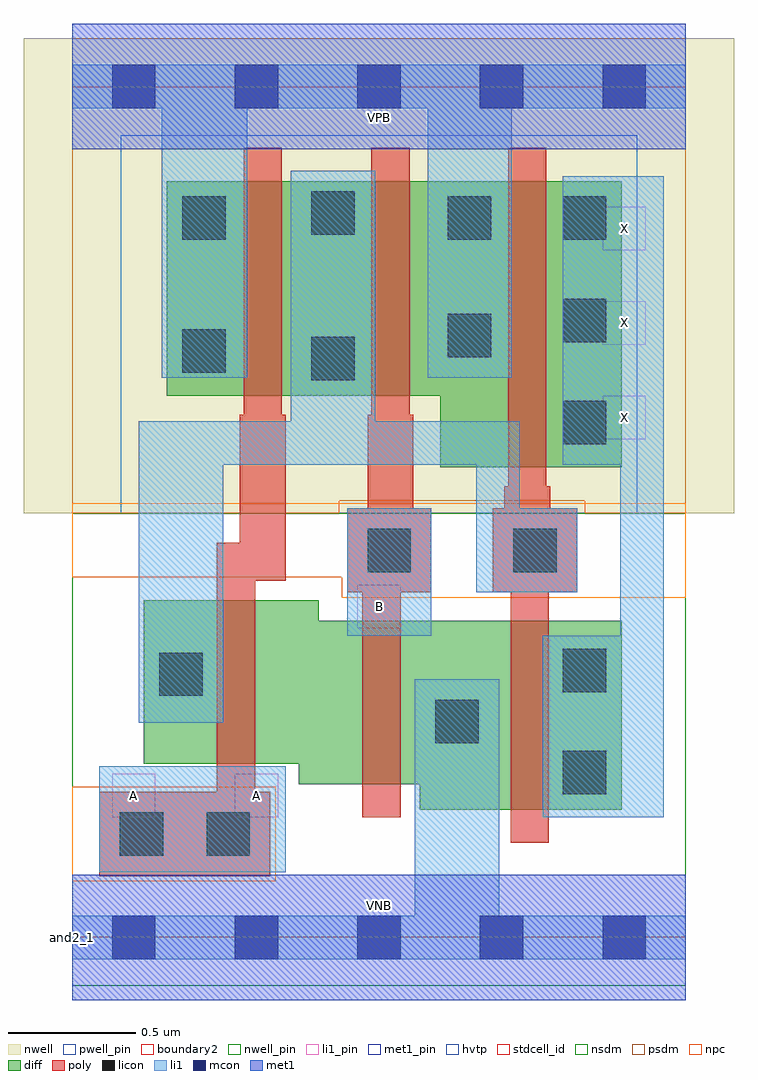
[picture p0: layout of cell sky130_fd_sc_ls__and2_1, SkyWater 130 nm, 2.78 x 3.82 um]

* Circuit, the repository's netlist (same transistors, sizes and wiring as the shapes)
* Copyright 2020 The SkyWater PDK Authors
*
* Licensed under the Apache License, Version 2.0 (the "License");
* you may not use this file except in compliance with the License.
* You may obtain a copy of the License at
*
*     https://www.apache.org/licenses/LICENSE-2.0
*
* Unless required by applicable law or agreed to in writing, software
* distributed under the License is distributed on an "AS IS" BASIS,
* WITHOUT WARRANTIES OR CONDITIONS OF ANY KIND, either express or implied.
* See the License for the specific language governing permissions and
* limitations under the License.
*
* SPDX-License-Identifier: Apache-2.0

.SUBCKT sky130_fd_sc_ls__and2_1 A B VGND VNB VPB VPWR X
*.PININFO A:I B:I VGND:I VNB:I VPB:I VPWR:I X:O
MMP0 y A VPWR VPB sky130_fd_pr__pfet_01v8_hvt m=1 w=0.84U l=0.15U mult=1 sa=0.265
+ sb=0.265 sd=0.28 area=0.063 perim=1.14
MMP1 y B VPWR VPB sky130_fd_pr__pfet_01v8_hvt m=1 w=0.84U l=0.15U mult=1 sa=0.265
+ sb=0.265 sd=0.28 area=0.063 perim=1.14
MMIP0 X y VPWR VPB sky130_fd_pr__pfet_01v8_hvt m=1 w=1.12U l=0.15U mult=1 sa=0.265
+ sb=0.265 sd=0.28 area=0.063 perim=1.14
MMN0 y A sndA VNB sky130_fd_pr__nfet_01v8 m=1 w=0.64U l=0.15U mult=1 sa=0.265 sb=0.265
+ sd=0.28 area=0.063 perim=1.14
MMN1 sndA B VGND VNB sky130_fd_pr__nfet_01v8 m=1 w=0.64U l=0.15U mult=1 sa=0.265
+ sb=0.265 sd=0.28 area=0.063 perim=1.14
MMIN0 X y VGND VNB sky130_fd_pr__nfet_01v8 m=1 w=0.74U l=0.15U mult=1 sa=0.265
+ sb=0.265 sd=0.28 area=0.063 perim=1.14
.ENDS sky130_fd_sc_ls__and2_1

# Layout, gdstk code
import gdstk
lib = gdstk.Library(unit=1e-6, precision=1e-09)
def R(c, l, rs):  # rectangles x0, y0, x1, y1
    for r in rs: c.add(gdstk.rectangle(r[:2], r[2:], *l))
def A(c, l, x, y, w, h, nx, ny, dx, dy):  # array of equal rectangles
    R(c, l, [(x+i*dx, y+j*dy, x+i*dx+w, y+j*dy+h) for i in range(nx) for j in range(ny)])
def P(c, l, *ps):  # polygons
    for p in ps: c.add(gdstk.Polygon(p, *l))
nwell_pin = (64, 16)
nwell = (64, 20)
diff = (65, 20)
poly = (66, 20)
licon = (66, 44)
li1_pin = (67, 16)
li1 = (67, 20)
mcon = (67, 44)
met1_pin = (68, 16)
met1 = (68, 20)
hvtp = (78, 44)
stdcell_id = (81, 4)
nsdm = (93, 44)
psdm = (94, 20)
npc = (95, 20)
pwell_pin = (122, 16)
boundary2 = (236, 0)

sky130_fd_sc_ls__and2_1 = lib.new_cell('sky130_fd_sc_ls__and2_1')
R(sky130_fd_sc_ls__and2_1, nwell_pin, [(0,3.085,2.4,3.33)])
R(sky130_fd_sc_ls__and2_1, nwell, [(-0.19,1.66,2.59,3.52)])
P(sky130_fd_sc_ls__and2_1, diff, [(2.15,2.96),(0.37,2.96),(0.37,2.12),(1.44,2.12),(1.44,1.84),(2.15,1.84)],
  [(2.15,1.24),(0.965,1.24),(0.965,1.32),(0.28,1.32),(0.28,0.68),(0.885,0.68),(0.885,0.6),(1.36,0.6),(1.36,0.5),(2.15,0.5)])
P(sky130_fd_sc_ls__and2_1, poly, [(1.975,1.68),(1.87,1.68),(1.87,1.765),(1.855,1.765),(1.855,3.09),(1.705,3.09),(1.705,1.765),(1.69,1.765),(1.69,1.68),(1.645,1.68),(1.645,1.35),(1.715,1.35),(1.715,0.37),(1.865,0.37),(1.865,1.35),(1.975,1.35)],
  [(1.405,1.68),(1.335,1.68),(1.335,2.045),(1.32,2.045),(1.32,3.09),(1.17,3.09),(1.17,2.045),(1.155,2.045),(1.155,1.68),(1.075,1.68),(1.075,1.35),(1.135,1.35),(1.135,0.47),(1.285,0.47),(1.285,1.35),(1.405,1.35)],
  [(0.835,2.045),(0.82,2.045),(0.82,3.09),(0.67,3.09),(0.67,2.045),(0.655,2.045),(0.655,1.545),(0.565,1.545),(0.565,0.57),(0.105,0.57),(0.105,0.24),(0.775,0.24),(0.775,0.57),(0.715,0.57),(0.715,1.395),(0.835,1.395)])
A(sky130_fd_sc_ls__and2_1, licon, 1.92, 1.93, 0.17, 0.17, 1, 3, 0, 0.4)
R(sky130_fd_sc_ls__and2_1, licon, [(0.185,0.32,0.355,0.49), (0.525,0.32,0.695,0.49), (1.92,0.56,2.09,0.73), (1.42,0.76,1.59,0.93), (0.34,0.945,0.51,1.115), (1.92,0.96,2.09,1.13), (1.155,1.43,1.325,1.6), (1.725,1.43,1.895,1.6), (0.935,2.18,1.105,2.35), (0.43,2.21,0.6,2.38), (1.47,2.27,1.64,2.44), (0.43,2.73,0.6,2.9), (1.47,2.73,1.64,2.9), (0.935,2.75,1.105,2.92)])
A(sky130_fd_sc_ls__and2_1, li1_pin, 2.075, 1.95, 0.17, 0.17, 1, 3, 0, 0.37)
R(sky130_fd_sc_ls__and2_1, li1_pin, [(0.155,0.47,0.325,0.64), (0.635,0.47,0.805,0.64), (1.115,1.21,1.285,1.38)])
R(sky130_fd_sc_ls__and2_1, li1, [(0.105,0.255,0.835,0.67), (1.075,1.18,1.405,1.68)])
P(sky130_fd_sc_ls__and2_1, li1, [(0,-0.085),(0,0.085),(1.34,0.085),(1.34,1.01),(1.67,1.01),(1.67,0.085),(2.4,0.085),(2.4,-0.085)],
  [(0,3.245),(0,3.415),(2.4,3.415),(2.4,3.245),(1.72,3.245),(1.72,2.19),(1.39,2.19),(1.39,3.245),(0.685,3.245),(0.685,2.19),(0.35,2.19),(0.35,3.245)],
  [(1.92,1.85),(1.92,2.98),(2.315,2.98),(2.315,0.47),(1.84,0.47),(1.84,1.18),(2.145,1.18),(2.145,1.85)],
  [(0.26,0.84),(0.26,2.02),(0.855,2.02),(0.855,3),(1.185,3),(1.185,2.02),(1.75,2.02),(1.75,1.68),(1.975,1.68),(1.975,1.35),(1.58,1.35),(1.58,1.85),(0.59,1.85),(0.59,0.84)])
A(sky130_fd_sc_ls__and2_1, mcon, 0.155, -0.085, 0.17, 0.17, 5, 2, 0.48, 3.33)
R(sky130_fd_sc_ls__and2_1, met1_pin, [(0,0,2.4,0.245), (0,3.085,2.4,3.33)])
R(sky130_fd_sc_ls__and2_1, met1, [(0,-0.245,2.4,0.245), (0,3.085,2.4,3.575)])
R(sky130_fd_sc_ls__and2_1, hvtp, [(0.19,1.66,2.21,3.14)])
R(sky130_fd_sc_ls__and2_1, stdcell_id, [(0,0,2.4,3.33)])
R(sky130_fd_sc_ls__and2_1, nsdm, [(0,-0.19,2.4,1.66)])
P(sky130_fd_sc_ls__and2_1, psdm, [(2.4,3.52),(0,3.52),(0,1.66),(1.045,1.66),(1.045,1.71),(2.005,1.71),(2.005,1.66),(2.4,1.66)])
R(sky130_fd_sc_ls__and2_1, npc, [(0,0.22,0.795,0.59)])
P(sky130_fd_sc_ls__and2_1, npc, [(2.4,1.7),(0,1.7),(0,1.41),(1.055,1.41),(1.055,1.33),(2.4,1.33)])
R(sky130_fd_sc_ls__and2_1, pwell_pin, [(0,0,2.4,0.245)])
R(sky130_fd_sc_ls__and2_1, boundary2, [(0,0,2.4,3.33)])
sky130_fd_sc_ls__and2_1.add(gdstk.Label('and2_1', (0,0), layer=83, texttype=44))
sky130_fd_sc_ls__and2_1.add(gdstk.Label('VNB', (1.2,0.123), layer=64, texttype=59))
sky130_fd_sc_ls__and2_1.add(gdstk.Label('VPB', (1.2,3.208), layer=64, texttype=5))
sky130_fd_sc_ls__and2_1.add(gdstk.Label('VPWR', (1.2,3.208), layer=68, texttype=5))
sky130_fd_sc_ls__and2_1.add(gdstk.Label('VGND', (1.2,0.123), layer=68, texttype=5))
sky130_fd_sc_ls__and2_1.add(gdstk.Label('A', (0.24,0.555), layer=67, texttype=5))
sky130_fd_sc_ls__and2_1.add(gdstk.Label('A', (0.72,0.555), layer=67, texttype=5))
sky130_fd_sc_ls__and2_1.add(gdstk.Label('B', (1.2,1.295), layer=67, texttype=5))
sky130_fd_sc_ls__and2_1.add(gdstk.Label('X', (2.16,2.035), layer=67, texttype=5))
sky130_fd_sc_ls__and2_1.add(gdstk.Label('X', (2.16,2.405), layer=67, texttype=5))
sky130_fd_sc_ls__and2_1.add(gdstk.Label('X', (2.16,2.775), layer=67, texttype=5))

lib.write_gds('sky130_fd_sc_ls__and2_1.gds')
